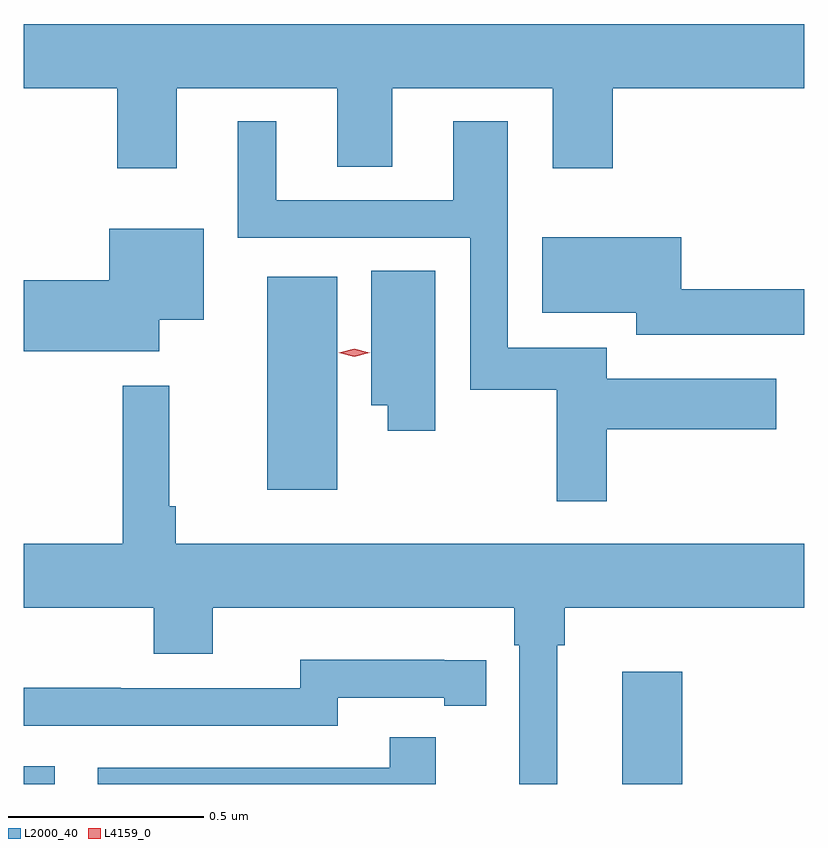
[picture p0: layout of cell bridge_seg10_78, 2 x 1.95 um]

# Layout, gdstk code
import gdstk
lib = gdstk.Library(unit=1e-6, precision=1e-09)
def R(c, l, rs):  # rectangles x0, y0, x1, y1
    for r in rs: c.add(gdstk.rectangle(r[:2], r[2:], *l))
def P(c, l, *ps):  # polygons
    for p in ps: c.add(gdstk.Polygon(p, *l))
L2000_40 = (2000, 40)
L4159_0 = (4159, 0)

bridge_seg10_78 = lib.new_cell('bridge_seg10_78')
R(bridge_seg10_78, L2000_40, [(678.401,1262.569,678.481,1262.614), (679.934,1262.569,680.088,1262.857), (679.025,1263.323,679.204,1263.868)])
P(bridge_seg10_78, L2000_40, [(678.793,1264.352),(679.205,1264.352),(679.205,1264.15),(679.345,1264.15),(679.345,1264.352),(679.757,1264.352),(679.757,1264.146),(679.91,1264.146),(679.91,1264.352),(680.401,1264.352),(680.401,1264.516),(678.401,1264.516),(678.401,1264.352),(678.641,1264.352),(678.641,1264.146),(678.793,1264.146)],
  [(679.895,1263.478),(680.329,1263.478),(680.329,1263.607),(679.895,1263.607),(679.895,1263.687),(679.641,1263.687),(679.641,1264.267),(679.502,1264.267),(679.502,1264.065),(679.048,1264.065),(679.048,1264.267),(678.95,1264.267),(678.95,1263.969),(679.545,1263.969),(679.545,1263.579),(679.767,1263.579),(679.767,1263.294),(679.895,1263.294)],
  [(678.748,1263.758),(678.862,1263.758),(678.862,1263.991),(678.62,1263.991),(678.62,1263.86),(678.401,1263.86),(678.401,1263.677),(678.748,1263.677)],
  [(680.401,1263.836),(680.086,1263.836),(680.086,1263.97),(679.73,1263.97),(679.73,1263.776),(679.97,1263.776),(679.97,1263.72),(680.401,1263.72)],
  [(679.456,1263.884),(679.292,1263.884),(679.292,1263.539),(679.334,1263.539),(679.334,1263.474),(679.456,1263.474)],
  [(679.768,1262.924),(679.787,1262.924),(679.787,1263.02),(680.401,1263.02),(680.401,1263.184),(678.791,1263.184),(678.791,1263.28),(678.774,1263.28),(678.774,1263.589),(678.655,1263.589),(678.655,1263.184),(678.401,1263.184),(678.401,1263.02),(678.734,1263.02),(678.734,1262.903),(678.886,1262.903),(678.886,1263.02),(679.658,1263.02),(679.658,1262.924),(679.671,1262.924),(679.671,1262.569),(679.768,1262.569)],
  [(679.206,1262.79),(679.478,1262.79),(679.478,1262.77),(679.586,1262.77),(679.586,1262.886),(679.478,1262.886),(679.478,1262.887),(679.11,1262.887),(679.11,1262.814),(678.65,1262.814),(678.65,1262.816),(678.401,1262.816),(678.401,1262.718),(679.206,1262.718)],
  [(679.457,1262.689),(679.339,1262.689),(679.339,1262.61),(678.591,1262.61),(678.591,1262.569),(679.457,1262.569)])
P(bridge_seg10_78, L4159_0, [(679.248,1263.664),(679.208,1263.674),(679.208,1263.674),(679.208,1263.674),(679.248,1263.684),(679.288,1263.674),(679.288,1263.674),(679.288,1263.674)])

lib.write_gds('bridge_seg10_78.gds')
